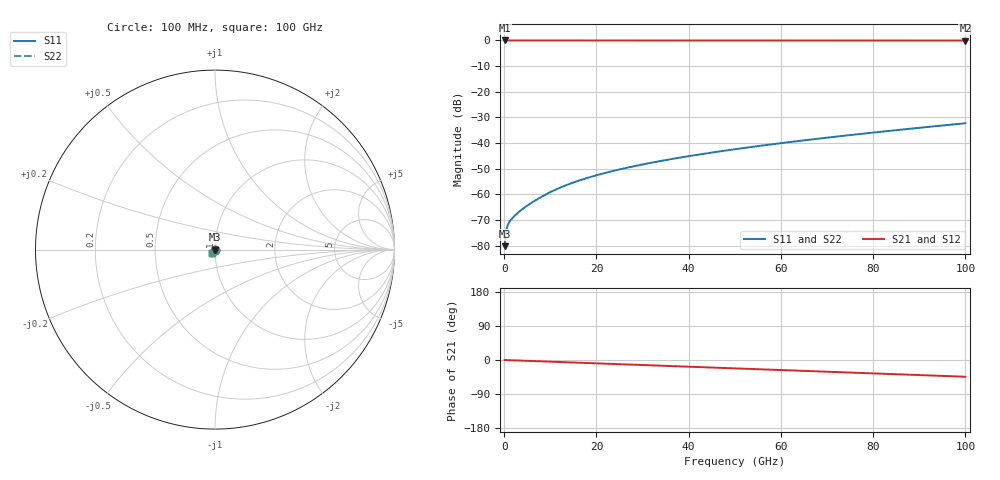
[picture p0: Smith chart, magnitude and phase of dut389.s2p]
! Touchstone file exported from HFSS 2026.1.0
!  File:  C:/ffzhzh/LocalFiles/Ansys_Project_Files/temp_train_TSV_389_1783510654_31944.aedt
!  Generated:  07:38:40 PM Jul  8, 2026
!  Design:  TSV
!  Project:  temp_train_TSV_389_1783510654_31944
! Variables:
!  h_bsmrdl = 2um
!  h_ox = 20um
!  h_rdl = 5um
!  h_sub = 88.09um
!  h_tmrdl = 5um
!  h_tsv = 88.09um
!  h_via = 3um
!  l_bsmrdl = 300um
!  l_sub = 426.08um
!  l_tmrdl = 200um
!  m_sub = 200um
!  pitch = 51.63um
!  r_tsv = 13.04um
!  s_tmrdl = 10um
!  w_bsmrdl = 18um
!  w_sub = 500um
!  w_tmrdl = 12um
!  x_tsv_center1 = 206um
!  x_tsv_center2 = 524um
!  x_tsv_center3 = 736um
!  x_tsv_center4 = 1054um
!  x_tsv_center5 = 1266um
!  x_tsv_center6 = 1584um
# GHz S MA R 50.000000
! Terminal data exported
! Port[1] = TSV1_1_T1
! Port[2] = TSV1_1_T2
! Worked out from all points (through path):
!   1000 points, 100 MHz to 100 GHz, reference 50 ohm
!   highest |S21| = 0.00 dB at 100 MHz (marker M1); lowest = 0.0 dB at 100 GHz (marker M2)
!   group delay of S21, straight-line fit = 1.23 ps
!   lowest |S11| = -80.2 dB at 100 MHz (marker M3), VSWR 1.00, Z = 50 + j0.00344 ohm
!   |S11| at or under -10 dB: start of sweep to end of sweep
!   |S22| runs from -80.2 to -32.3 dB; largest |S21 - S12| = 4e-15
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0.1  9.815e-05 20.5  0.9999 -0.0  0.9999 -0.0  9.815e-05 20.5
! Gamma 0 0 0 0
! Port Impedance 50 0 50 0
0.3  0.0001547 33.6  0.9999 -0.1  0.9999 -0.1  0.0001547 33.6
0.8  0.0002559 24.8  0.9998 -0.4  0.9998 -0.4  0.0002559 24.8
1  0.0002791 21.0  0.9997 -0.5  0.9997 -0.5  0.0002791 21.0
1.2  0.0002982 17.7  0.9997 -0.5  0.9997 -0.5  0.0002982 17.7
1.6  0.0003313 12.2  0.9997 -0.7  0.9997 -0.7  0.0003313 12.2
2.2  0.0003778 5.1  0.9996 -1.0  0.9996 -1.0  0.0003779 5.1
3.8  0.000505 -11.2  0.9995 -1.7  0.9995 -1.7  0.000505 -11.2
5.1  0.0006145 -22.2  0.9994 -2.3  0.9994 -2.3  0.0006145 -22.2
6.5  0.0007407 -31.6  0.9993 -2.9  0.9993 -2.9  0.0007407 -31.6
10  0.001107 -47.1  0.9992 -4.4  0.9992 -4.4  0.001108 -47.1
13.2  0.001484 -56.2  0.9991 -5.8  0.9991 -5.8  0.001484 -56.2
16.8  0.001937 -64.0  0.9989 -7.4  0.9989 -7.4  0.001937 -64.0
20.2  0.002389 -69.7  0.9988 -8.9  0.9988 -8.9  0.00239 -69.7
24.1  0.002938 -75.1  0.9987 -10.6  0.9987 -10.6  0.002939 -75.1
28.5  0.003599 -80.2  0.9986 -12.5  0.9986 -12.5  0.003599 -80.2
33.4  0.004391 -85.1  0.9985 -14.7  0.9985 -14.7  0.004391 -85.1
41.2  0.005789 -91.8  0.9983 -18.1  0.9983 -18.1  0.005789 -91.8
50.1  0.007614 -98.6  0.9981 -22.0  0.9981 -22.0  0.007615 -98.6
66.7  0.0118 -109.8  0.9977 -29.4  0.9977 -29.4  0.0118 -109.8
83.4  0.01728 -119.9  0.9973 -36.8  0.9973 -36.8  0.01728 -119.9
100  0.02437 -129.5  0.9967 -44.2  0.9967 -44.2  0.02437 -129.5
